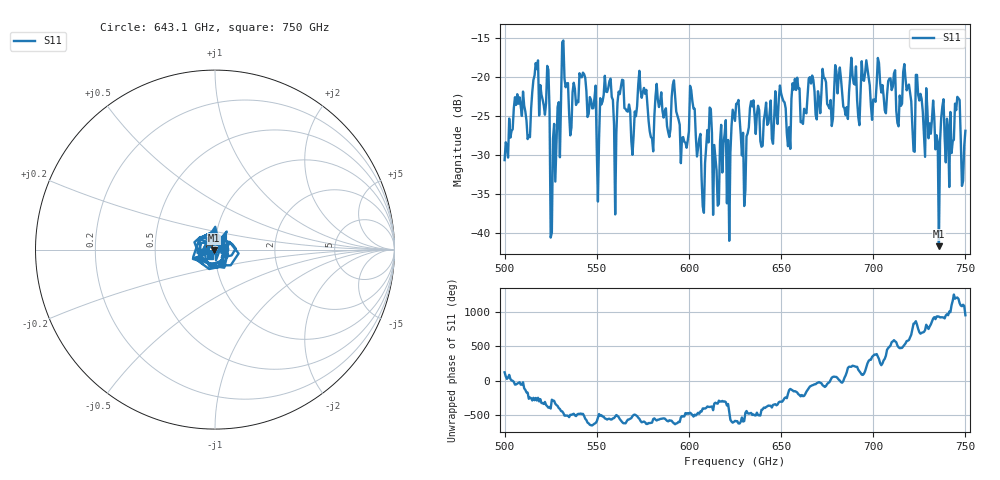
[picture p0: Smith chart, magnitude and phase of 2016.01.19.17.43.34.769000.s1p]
!Created with skrf (http://scikit-rf.org).
# GHz S RI R 50.0
!freq ReS11 ImS11
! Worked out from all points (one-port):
!   401 points, 500 GHz to 750 GHz, reference 50 ohm
!   lowest |S11| = -41.7 dB at 735.6 GHz (marker M1), VSWR 1.02, Z = 49.3 - j0.422 ohm
!   |S11| at or under -10 dB: start of sweep to end of sweep
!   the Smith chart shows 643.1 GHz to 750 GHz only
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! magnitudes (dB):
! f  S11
! 500 GHz  -30.6
! 506.9 GHz  -22.2
! 513.1 GHz  -27.5
! 516.9 GHz  -18.2
! 523.1 GHz  -18.5
! 526.2 GHz  -27.9
! 531.2 GHz  -15.5
! 542.5 GHz  -19.4
! 551.2 GHz  -27.8
! 562.5 GHz  -22.2
! 570 GHz  -27.5
! 593.8 GHz  -24.9
! 596.9 GHz  -27.7
! 601.9 GHz  -23.1
! 608.1 GHz  -37.4
! 611.2 GHz  -23.9
! 614.4 GHz  -30.3
! 618.8 GHz  -28.5
! 621.9 GHz  -41.0
! 625 GHz  -25.6
! 630 GHz  -36.6
! 634.4 GHz  -23.7
! 656.2 GHz  -20.8
! 687.5 GHz  -19.9
! 718.8 GHz  -21.2
! 735.6 GHz  -41.7
! 745.6 GHz  -22.5
! 750 GHz  -26.9
